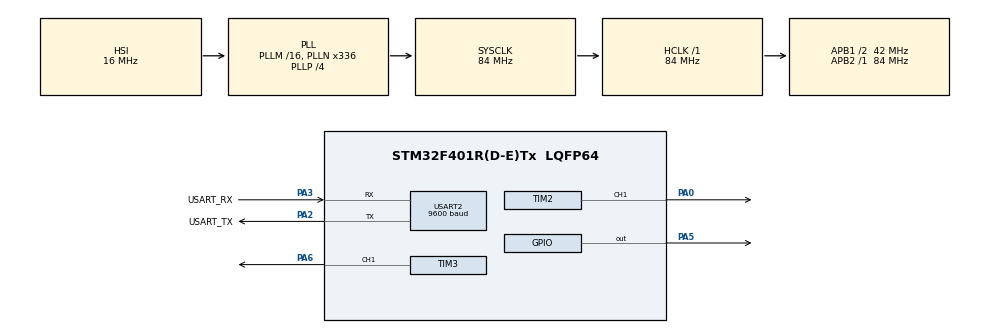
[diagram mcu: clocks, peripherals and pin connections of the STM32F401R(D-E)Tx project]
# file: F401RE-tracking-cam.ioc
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Mcu.Family=STM32F4
Mcu.Name=STM32F401R(D-E)Tx
Mcu.Package=LQFP64
NVIC.PriorityGroup=NVIC_PRIORITYGROUP_0
NVIC.USART2_IRQn=true\:0\:0\:false\:false\:true\:true\:true\:true
PA0-WKUP.Signal=S_TIM2_CH1_ETR
PA13.GPIO_Label=TMS
PA13.Mode=Serial_Wire
PA13.Signal=SYS_JTMS-SWDIO
PA14.GPIO_Label=TCK
PA14.Mode=Serial_Wire
PA14.Signal=SYS_JTCK-SWCLK
PA2.GPIO_Label=USART_TX
PA2.GPIO_Mode=GPIO_MODE_AF_PP
PA2.GPIO_PuPd=GPIO_NOPULL
PA2.GPIO_Speed=GPIO_SPEED_FREQ_LOW
PA2.Mode=Asynchronous
PA2.Signal=USART2_TX
PA3.GPIO_Label=USART_RX
PA3.GPIO_Mode=GPIO_MODE_AF_PP
PA3.GPIO_PuPd=GPIO_NOPULL
PA3.GPIO_Speed=GPIO_SPEED_FREQ_LOW
PA3.Mode=Asynchronous
PA3.Signal=USART2_RX
PA5.Signal=GPIO_Output
PA6.Signal=S_TIM3_CH1
ProjectManager.HeapSize=0x200
ProjectManager.StackSize=0x400
ProjectManager.TargetToolchain=STM32CubeIDE
RCC.48MHZClocksFreq_Value=48000000
RCC.AHBFreq_Value=84000000
RCC.APB1CLKDivider=RCC_HCLK_DIV2
RCC.APB1Freq_Value=42000000
RCC.APB1TimFreq_Value=84000000
RCC.APB2Freq_Value=84000000
RCC.APB2TimFreq_Value=84000000
RCC.CortexFreq_Value=84000000
RCC.HCLKFreq_Value=84000000
RCC.HSE_VALUE=8000000
RCC.HSI_VALUE=16000000
RCC.LSE_VALUE=32768
RCC.PLLN=336
RCC.PLLP=RCC_PLLP_DIV4
RCC.PLLQ=7
RCC.SYSCLKFreq_VALUE=84000000
RCC.SYSCLKSource=RCC_SYSCLKSOURCE_PLLCLK
RCC.VCOOutputFreq_Value=336000000
SH.S_TIM2_CH1_ETR.0=TIM2_CH1,PWM Generation1 CH1
SH.S_TIM3_CH1.0=TIM3_CH1,PWM Generation1 CH1
TIM2.Channel-PWM\ Generation1\ CH1=TIM_CHANNEL_1
TIM2.Period=20000
TIM2.Prescaler=84-1
TIM2.Pulse-PWM\ Generation1\ CH1=500
TIM3.Channel-PWM\ Generation1\ CH1=TIM_CHANNEL_1
TIM3.Period=20000
TIM3.Prescaler=84-1
TIM3.Pulse-PWM\ Generation1\ CH1=500
USART2.BaudRate=9600
USART2.VirtualMode=VM_ASYNC
VP_TIM2_VS_ClockSourceINT.Mode=Internal
VP_TIM3_VS_ClockSourceINT.Mode=Internal
board=NUCLEO-F401RE

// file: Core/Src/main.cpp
/* USER CODE BEGIN Header */
/**
  ******************************************************************************
  * @file           : main.c
  * @brief          : Main program body
  ******************************************************************************
  * @attention
  *
  * Copyright (c) 2022 STMicroelectronics.
  * All rights reserved.
  *
  * This software is licensed under terms that can be found in the LICENSE file
  * in the root directory of this software component.
  * If no LICENSE file comes with this software, it is provided AS-IS.
  *
  ******************************************************************************
  */
/* USER CODE END Header */
#include "main.h"

TIM_HandleTypeDef htim2;  // PA_0
TIM_HandleTypeDef htim3;  // PA_6

UART_HandleTypeDef huart2;

/* USER CODE BEGIN PV */
int16_t MIN = 520;  //Min value the servos can reach
int16_t MAX = 2360;  //Max value the servos can reach
int16_t MID = 1440;  //Middle value   (MAX + MIN)/2
int16_t OFFSET = 300;  // How much the servos stop before reaching their limit (min and max values)

int16_t CSTEP_x = 1440;
int16_t CSTEP_y = 1440;
int16_t STEP = 3;  // Steps the servo move every cycle of the loops

int8_t state = 0;  // States represent their movement, if it's moving up, down, righ or left

uint8_t rx_buffer[1];  //  buffer of 1 byte

/* USER CODE END PV */

void SystemClock_Config(void);
static void MX_GPIO_Init(void);
static void MX_USART2_UART_Init(void);
static void MX_TIM2_Init(void);
static void MX_TIM3_Init(void);
/* USER CODE BEGIN PFP */

// Declaration of the functions

void Calibrate(void);

/* USER CODE END PFP */

int main(void)
{

  /* MCU Configuration--------------------------------------------------------*/

  /* Reset of all peripherals, Initializes the Flash interface and the Systick. */
  HAL_Init();

  /* Configure the system clock */
  SystemClock_Config();

  /* Initialize all configured peripherals */
  MX_GPIO_Init();
  MX_USART2_UART_Init();
  MX_TIM2_Init();
  MX_TIM3_Init();
  /* USER CODE BEGIN 2 */

  // starts the pwm
  HAL_TIM_PWM_Start(&htim2, TIM_CHANNEL_1);
  HAL_TIM_PWM_Start(&htim3,TIM_CHANNEL_1);

  Calibrate();

  __HAL_UART_ENABLE_IT(&huart2, UART_IT_RXNE);
  /* USER CODE END 2 */
  /* Infinite loop */
  /* USER CODE BEGIN WHILE */
  while (1)
  {

	while(rx_buffer[0] == '1'){
		if(CSTEP_x < (MAX-OFFSET)){
			htim2.Instance->CCR1 = (CSTEP_x + STEP);
			CSTEP_x = CSTEP_x + STEP;
			HAL_Delay(10);
			}
		}

	while(rx_buffer[0] == '2'){
		if(CSTEP_x > (MIN+OFFSET)){
			htim2.Instance->CCR1 = (CSTEP_x - STEP);
			CSTEP_x = CSTEP_x - STEP;
			HAL_Delay(10);
			}
		}

	while(rx_buffer[0] == '3'){
		if(CSTEP_y < (MAX-OFFSET)){
			htim3.Instance->CCR1 = (CSTEP_y + STEP);
			CSTEP_y = CSTEP_y + STEP;
			HAL_Delay(10);
			}
		}

	while(rx_buffer[0] == '4'){
		if(CSTEP_y > (MIN+OFFSET)){
			htim3.Instance->CCR1 = (CSTEP_y - STEP);
			CSTEP_y = CSTEP_y - STEP;
			HAL_Delay(10);
			}
		}

}
    /* USER CODE END WHILE */
  }

void SystemClock_Config(void)
{
  RCC_OscInitTypeDef RCC_OscInitStruct = {0};
  RCC_ClkInitTypeDef RCC_ClkInitStruct = {0};

  /** Configure the main internal regulator output voltage
  */
  __HAL_RCC_PWR_CLK_ENABLE();
  __HAL_PWR_VOLTAGESCALING_CONFIG(PWR_REGULATOR_VOLTAGE_SCALE2);

  /** Initializes the RCC Oscillators according to the specified parameters
  * in the RCC_OscInitTypeDef structure.
  */
  RCC_OscInitStruct.OscillatorType = RCC_OSCILLATORTYPE_HSI;
  RCC_OscInitStruct.HSIState = RCC_HSI_ON;
  RCC_OscInitStruct.HSICalibrationValue = RCC_HSICALIBRATION_DEFAULT;
  RCC_OscInitStruct.PLL.PLLState = RCC_PLL_ON;
  RCC_OscInitStruct.PLL.PLLSource = RCC_PLLSOURCE_HSI;
  RCC_OscInitStruct.PLL.PLLM = 16;
  RCC_OscInitStruct.PLL.PLLN = 336;
  RCC_OscInitStruct.PLL.PLLP = RCC_PLLP_DIV4;
  RCC_OscInitStruct.PLL.PLLQ = 7;
  if (HAL_RCC_OscConfig(&RCC_OscInitStruct) != HAL_OK)
  {
    Error_Handler();
  }

  /** Initializes the CPU, AHB and APB buses clocks
  */
  RCC_ClkInitStruct.ClockType = RCC_CLOCKTYPE_HCLK|RCC_CLOCKTYPE_SYSCLK
                              |RCC_CLOCKTYPE_PCLK1|RCC_CLOCKTYPE_PCLK2;
  RCC_ClkInitStruct.SYSCLKSource = RCC_SYSCLKSOURCE_PLLCLK;
  RCC_ClkInitStruct.AHBCLKDivider = RCC_SYSCLK_DIV1;
  RCC_ClkInitStruct.APB1CLKDivider = RCC_HCLK_DIV2;
  RCC_ClkInitStruct.APB2CLKDivider = RCC_HCLK_DIV1;

  if (HAL_RCC_ClockConfig(&RCC_ClkInitStruct, FLASH_LATENCY_2) != HAL_OK)
  {
    Error_Handler();
  }
}

static void MX_TIM2_Init(void)
{

  TIM_ClockConfigTypeDef sClockSourceConfig = {0};
  TIM_MasterConfigTypeDef sMasterConfig = {0};
  TIM_OC_InitTypeDef sConfigOC = {0};

  htim2.Instance = TIM2;
  htim2.Init.Prescaler = 84-1;
  htim2.Init.CounterMode = TIM_COUNTERMODE_UP;
  htim2.Init.Period = 20000;
  htim2.Init.ClockDivision = TIM_CLOCKDIVISION_DIV1;
  htim2.Init.AutoReloadPreload = TIM_AUTORELOAD_PRELOAD_DISABLE;
  if (HAL_TIM_Base_Init(&htim2) != HAL_OK)
  {
    Error_Handler();
  }
  sClockSourceConfig.ClockSource = TIM_CLOCKSOURCE_INTERNAL;
  if (HAL_TIM_ConfigClockSource(&htim2, &sClockSourceConfig) != HAL_OK)
  {
    Error_Handler();
  }
  if (HAL_TIM_PWM_Init(&htim2) != HAL_OK)
  {
    Error_Handler();
  }
  sMasterConfig.MasterOutputTrigger = TIM_TRGO_RESET;
  sMasterConfig.MasterSlaveMode = TIM_MASTERSLAVEMODE_DISABLE;
  if (HAL_TIMEx_MasterConfigSynchronization(&htim2, &sMasterConfig) != HAL_OK)
  {
    Error_Handler();
  }
  sConfigOC.OCMode = TIM_OCMODE_PWM1;
  sConfigOC.Pulse = MID;
  sConfigOC.OCPolarity = TIM_OCPOLARITY_HIGH;
  sConfigOC.OCFastMode = TIM_OCFAST_DISABLE;
  if (HAL_TIM_PWM_ConfigChannel(&htim2, &sConfigOC, TIM_CHANNEL_1) != HAL_OK)
  {
    Error_Handler();
  }
  HAL_TIM_MspPostInit(&htim2);

}

static void MX_TIM3_Init(void)
{

  TIM_ClockConfigTypeDef sClockSourceConfig = {0};
  TIM_MasterConfigTypeDef sMasterConfig = {0};
  TIM_OC_InitTypeDef sConfigOC = {0};

  htim3.Instance = TIM3;
  htim3.Init.Prescaler = 84-1;
  htim3.Init.CounterMode = TIM_COUNTERMODE_UP;
  htim3.Init.Period = 20000;
  htim3.Init.ClockDivision = TIM_CLOCKDIVISION_DIV1;
  htim3.Init.AutoReloadPreload = TIM_AUTORELOAD_PRELOAD_DISABLE;
  if (HAL_TIM_Base_Init(&htim3) != HAL_OK)
  {
    Error_Handler();
  }
  sClockSourceConfig.ClockSource = TIM_CLOCKSOURCE_INTERNAL;
  if (HAL_TIM_ConfigClockSource(&htim3, &sClockSourceConfig) != HAL_OK)
  {
    Error_Handler();
  }
  if (HAL_TIM_PWM_Init(&htim3) != HAL_OK)
  {
    Error_Handler();
  }
  sMasterConfig.MasterOutputTrigger = TIM_TRGO_RESET;
  sMasterConfig.MasterSlaveMode = TIM_MASTERSLAVEMODE_DISABLE;
  if (HAL_TIMEx_MasterConfigSynchronization(&htim3, &sMasterConfig) != HAL_OK)
  {
    Error_Handler();
  }
  sConfigOC.OCMode = TIM_OCMODE_PWM1;
  sConfigOC.Pulse = MID;
  sConfigOC.OCPolarity = TIM_OCPOLARITY_HIGH;
  sConfigOC.OCFastMode = TIM_OCFAST_DISABLE;
  if (HAL_TIM_PWM_ConfigChannel(&htim3, &sConfigOC, TIM_CHANNEL_1) != HAL_OK)
  {
    Error_Handler();
  }
  HAL_TIM_MspPostInit(&htim3);

}

static void MX_USART2_UART_Init(void)
{

  huart2.Instance = USART2;
  huart2.Init.BaudRate = 9600;
  huart2.Init.WordLength = UART_WORDLENGTH_8B;
  huart2.Init.StopBits = UART_STOPBITS_1;
  huart2.Init.Parity = UART_PARITY_NONE;
  huart2.Init.Mode = UART_MODE_TX_RX;
  huart2.Init.HwFlowCtl = UART_HWCONTROL_NONE;
  huart2.Init.OverSampling = UART_OVERSAMPLING_16;
  if (HAL_UART_Init(&huart2) != HAL_OK)
  {
    Error_Handler();
  }

}

static void MX_GPIO_Init(void)
{
  GPIO_InitTypeDef GPIO_InitStruct = {0};

  /* GPIO Ports Clock Enable */
  __HAL_RCC_GPIOA_CLK_ENABLE();

  /*Configure GPIO pin Output Level */
  HAL_GPIO_WritePin(GPIOA, GPIO_PIN_5, GPIO_PIN_RESET);

  /*Configure GPIO pin : PA5 */
  GPIO_InitStruct.Pin = GPIO_PIN_5;
  GPIO_InitStruct.Mode = GPIO_MODE_OUTPUT_PP;
  GPIO_InitStruct.Pull = GPIO_NOPULL;
  GPIO_InitStruct.Speed = GPIO_SPEED_FREQ_LOW;
  HAL_GPIO_Init(GPIOA, &GPIO_InitStruct);

}

/* USER CODE BEGIN 4 */

void Calibrate(void)
{
	int chipotle = 600;

	htim2.Instance->CCR1 = MID;
	HAL_Delay(chipotle);
	htim3.Instance->CCR1 = MID;
	HAL_Delay(chipotle);

	htim2.Instance->CCR1 = (MID+OFFSET);
	HAL_Delay(chipotle);
	htim2.Instance->CCR1 = (MID-OFFSET);
	HAL_Delay(chipotle);
	htim2.Instance->CCR1 = MID;
	HAL_Delay(chipotle);

	htim3.Instance->CCR1 = (MID+OFFSET);
	HAL_Delay(chipotle);
	htim3.Instance->CCR1 = (MID-OFFSET);
	HAL_Delay(chipotle);
	htim3.Instance->CCR1 = MID;
	HAL_Delay(chipotle);

    }

/* USER CODE END 4 */

void Error_Handler(void)
{
  __disable_irq();
  while (1)
  {
  }
}
